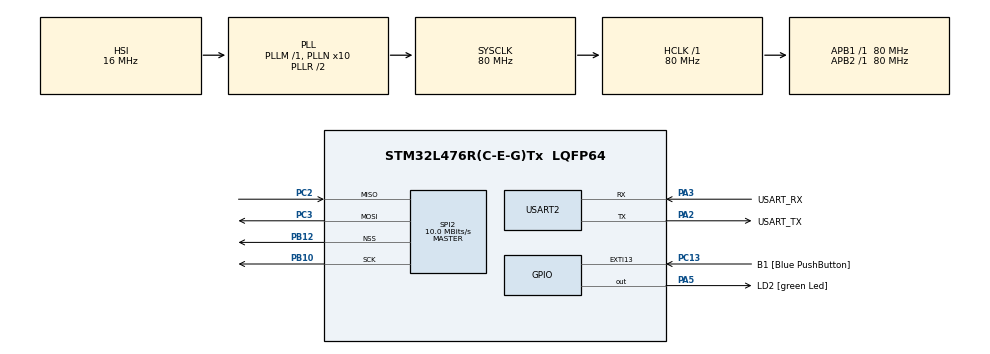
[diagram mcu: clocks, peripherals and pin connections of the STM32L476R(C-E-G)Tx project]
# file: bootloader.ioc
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Mcu.Family=STM32L4
PC3.Mode=Full_Duplex_Master
PA2.GPIO_PuPd=GPIO_NOPULL
SPI2.VirtualNSS=VM_NSSHARD
RCC.CortexFreq_Value=80000000
FATFS._USE_LFN=1
SPI2.VirtualType=VM_MASTER
PB10.Mode=Full_Duplex_Master
PH0-OSC_IN\ (PH0).Signal=RCC_OSC_IN
PA3.GPIO_PuPd=GPIO_NOPULL
PA2.GPIO_Speed=GPIO_SPEED_FREQ_VERY_HIGH
PC15-OSC32_OUT\ (PC15).Mode=LSE-External-Oscillator
PC13.GPIO_Label=B1 [Blue PushButton]
PA3.GPIO_Speed=GPIO_SPEED_FREQ_VERY_HIGH
RCC.SYSCLKSource=RCC_SYSCLKSOURCE_PLLCLK
ProjectManager.StackSize=0x400
PB3\ (JTDO-TRACESWO).Signal=SYS_JTDO-SWO
PC14-OSC32_IN\ (PC14).Mode=LSE-External-Oscillator
PA14\ (JTCK-SWCLK).Signal=SYS_JTCK-SWCLK
RCC.HCLKFreq_Value=80000000
RCC.APB2TimFreq_Value=80000000
TIM3.Period=1000-1
PC3.Signal=SPI2_MOSI
RCC.AHBFreq_Value=80000000
RCC.PREFETCH_ENABLE=1
SPI2.BaudRatePrescaler=SPI_BAUDRATEPRESCALER_8
RCC.HSE_VALUE=8000000
USART2.VirtualMode-Asynchronous=VM_ASYNC
TIM3.Prescaler=8000-1
PA5.GPIO_PuPd=GPIO_NOPULL
NVIC.TIM2_IRQn=true\:0\:0\:false\:false\:true\:true\:true
PC13.GPIO_PuPd=GPIO_NOPULL
SPI2.CalculateBaudRate=10.0 MBits/s
Mcu.Package=LQFP64
TIM2.Prescaler=8000-1
PB12.Mode=NSS_Signal_Hard_Output
SPI2.Mode=SPI_MODE_MASTER
PA2.GPIO_Label=USART_TX
RCC.APB1TimFreq_Value=80000000
SPI2.Direction=SPI_DIRECTION_2LINES
PA13\ (JTMS-SWDIO).Signal=SYS_JTMS-SWDIO
VP_TIM3_VS_ClockSourceINT.Mode=Internal
PA3.Signal=USART2_RX
PA2.GPIO_Mode=GPIO_MODE_AF_PP
RCC.MSI_VALUE=4000000
RCC.PLLSourceVirtual=RCC_PLLSOURCE_HSI
PA14\ (JTCK-SWCLK).Mode=Serial_Wire
PC13.Signal=GPXTI13
PC2.Signal=SPI2_MISO
PC2.Mode=Full_Duplex_Master
PC15-OSC32_OUT\ (PC15).Signal=RCC_OSC32_OUT
PA14\ (JTCK-SWCLK).GPIO_Label=TCK
PB3\ (JTDO-TRACESWO).GPIO_Label=SWO
PH1-OSC_OUT\ (PH1).Signal=RCC_OSC_OUT
PA3.Mode=Asynchronous
ProjectManager.TargetToolchain=STM32CubeIDE
PA3.GPIO_Mode=GPIO_MODE_AF_PP
RCC.USBFreq_Value=64000000
VP_FATFS_VS_Generic.Mode=User_defined
PB10.Signal=SPI2_SCK
PA5.Signal=GPIO_Output
board=NUCLEO-L476RG
RCC.VCOOutputFreq_Value=160000000
NVIC.TIM3_IRQn=true\:0\:0\:false\:false\:true\:true\:true
RCC.APB2Freq_Value=80000000
PA5.GPIO_ModeDefaultOutputPP=GPIO_MODE_OUTPUT_PP
PA13\ (JTMS-SWDIO).GPIO_Label=TMS
VP_TIM2_VS_ClockSourceINT.Mode=Internal
RCC.ADCFreq_Value=64000000
TIM2.Period=1000-1
Mcu.Name=STM32L476R(C-E-G)Tx
PA2.Signal=USART2_TX
FATFS._MAX_SS=4096
PA13\ (JTMS-SWDIO).Mode=Serial_Wire
RCC.SYSCLKFreq_VALUE=80000000
PA5.GPIO_Label=LD2 [green Led]
PC13.GPIO_ModeDefaultEXTI=GPIO_MODE_IT_FALLING
PC14-OSC32_IN\ (PC14).Signal=RCC_OSC32_IN
ProjectManager.HeapSize=0x200
RCC.HSI_VALUE=16000000
PA5.GPIO_Speed=GPIO_SPEED_FREQ_LOW
NVIC.PriorityGroup=NVIC_PRIORITYGROUP_4
RCC.PLLN=10
PA2.Mode=Asynchronous
SPI2.DataSize=SPI_DATASIZE_8BIT
RCC.APB1Freq_Value=80000000
VP_CRC_VS_CRC.Mode=CRC_Activate
PB12.Signal=SPI2_NSS
PA3.GPIO_Label=USART_RX

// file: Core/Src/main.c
/* USER CODE BEGIN Header */
/**
 ******************************************************************************
 * @file           : main.c
 * @brief          : Main program body
 ******************************************************************************
 * @attention
 *
 * <h2><center>&copy; Copyright (c) 2021 STMicroelectronics.
 * All rights reserved.</center></h2>
 *
 * This software component is licensed by ST under BSD 3-Clause license,
 * the "License"; You may not use this file except in compliance with the
 * License. You may obtain a copy of the License at:
 *                        opensource.org/licenses/BSD-3-Clause
 *
 ******************************************************************************
 */
/* USER CODE END Header */
#include "main.h"
#include "crc.h"
#include "fatfs.h"
#include "spi.h"
#include "tim.h"
#include "usart.h"
#include "gpio.h"

/* USER CODE BEGIN Includes */
#include <stdio.h>
#include <string.h>
#include "fatfs_sd.h"
#include "bootloader.h"

/* USER CODE END Includes */

/* USER CODE BEGIN PD */
#define CONF_FILENAME "application.bin"

/* USER CODE END PD */

/* USER CODE BEGIN PV */

/*
FATFS fs;
FIL fil;
FRESULT fresult;

char buffer[1024];
UINT br, bw;

FATFS *pfs;
DWORD fre_clust;
uint32_t total, free_space;
*/

char SDPath[4]; /* SD logical drive path */
FATFS SDFatFs;  /* File system object for SD logical drive */
FIL SDFile;     /* File object for SD */

/* USER CODE END PV */

void SystemClock_Config(void);
/* USER CODE BEGIN PFP */
void Enter_Bootloader(void);
void SD_Eject(void);

/* USER CODE END PFP */

int main(void)
{

  /* MCU Configuration--------------------------------------------------------*/

  /* Reset of all peripherals, Initializes the Flash interface and the Systick. */
  HAL_Init();

  /* Configure the system clock */
  SystemClock_Config();

  /* Initialize all configured peripherals */
  MX_GPIO_Init();
  MX_USART2_UART_Init();
  MX_SPI2_Init();
  MX_TIM2_Init();
  MX_TIM3_Init();
  MX_FATFS_Init();
  MX_CRC_Init();
  /* USER CODE BEGIN 2 */

	/*
	 fresult = f_mount(&fs, "", 0);
	 if (fresult != FR_OK) {
	 printf("Error when mounting SD card.\r\n");
	 } else {
	 printf("SD card mounted successfully.\r\n");
	 }
	 HAL_Delay(10);
	 // Check free space
	 f_getfree("", &fre_clust, &pfs);

	 total = (uint32_t) ((pfs->n_fatent - 2) * pfs->csize * 0.5);
	 printf("SD card total size: %.2f GB\r\n", total / 1024.0 / 1024.0);

	 free_space = (uint32_t) (fre_clust * pfs->csize * 0.5);
	 printf("SD card free space: %.2f GB\r\n", free_space / 1024.0 / 1024.0);

	 // Open file to write/ create a file if it doesn't exist
	 fresult = f_open(&fil, "sleep.txt", FA_OPEN_ALWAYS | FA_READ | FA_WRITE);
	 HAL_Delay(10);
	 // Writing text
	 fresult = f_write(&fil, "Hello World!\r\n", strlen("Hello World!\r\n"),
	 &bw);
	 fresult = f_write(&fil, "2. line\r\n", strlen("2. line\r\n"), &bw);

	 // Close file
	 fresult = f_close(&fil);
	 printf("file1.txt created and the data is written.\r\n");
	 */

	/**************************************************************************/
	printf("\nPower up, Boot started.\r\n");
	HAL_Delay(500);

	// Check system reset flags
	if (__HAL_RCC_GET_FLAG(RCC_FLAG_OBLRST)) {
		printf("OBL flag is active.\r\n");
#if(CLEAR_RESET_FLAGS)
        // Clear system reset flags
        __HAL_RCC_CLEAR_RESET_FLAGS();
        printf("Reset flags cleared.\r\n");
#endif
	}

	printf("Entering Bootloader...\r\n");
	Enter_Bootloader();

	// Check if there is application in user flash area
	if (Bootloader_CheckForApplication() == BL_OK) {
#if(USE_CHECKSUM)
        // Verify application checksum
        if(Bootloader_VerifyChecksum() != BL_OK)
        {
            printf("Checksum Error.\r\n");
            Error_Handler();
        }
        else
        {
            printf("Checksum OK.\r\n");
        }
#endif

		printf("Launching Application.\r\n");
		printf("===========================================\r\n");

		// De-initialize bootloader hardware & peripherals
		//TODO: SD_DeInit();
		//TODO: GPIO_DeInit();

		// Launch application
		Bootloader_JumpToApplication();
	}

	// No application found
	printf("No application in flash.\r\n");

	/**************************************************************************/

  /* USER CODE END 2 */

  /* Infinite loop */
	while (1) {

	}
}

void SystemClock_Config(void)
{
  RCC_OscInitTypeDef RCC_OscInitStruct = {0};
  RCC_ClkInitTypeDef RCC_ClkInitStruct = {0};
  RCC_PeriphCLKInitTypeDef PeriphClkInit = {0};

  /** Initializes the RCC Oscillators according to the specified parameters
  * in the RCC_OscInitTypeDef structure.
  */
  RCC_OscInitStruct.OscillatorType = RCC_OSCILLATORTYPE_HSI;
  RCC_OscInitStruct.HSIState = RCC_HSI_ON;
  RCC_OscInitStruct.HSICalibrationValue = RCC_HSICALIBRATION_DEFAULT;
  RCC_OscInitStruct.PLL.PLLState = RCC_PLL_ON;
  RCC_OscInitStruct.PLL.PLLSource = RCC_PLLSOURCE_HSI;
  RCC_OscInitStruct.PLL.PLLM = 1;
  RCC_OscInitStruct.PLL.PLLN = 10;
  RCC_OscInitStruct.PLL.PLLP = RCC_PLLP_DIV7;
  RCC_OscInitStruct.PLL.PLLQ = RCC_PLLQ_DIV2;
  RCC_OscInitStruct.PLL.PLLR = RCC_PLLR_DIV2;
  if (HAL_RCC_OscConfig(&RCC_OscInitStruct) != HAL_OK)
  {
    Error_Handler();
  }
  /** Initializes the CPU, AHB and APB buses clocks
  */
  RCC_ClkInitStruct.ClockType = RCC_CLOCKTYPE_HCLK|RCC_CLOCKTYPE_SYSCLK
                              |RCC_CLOCKTYPE_PCLK1|RCC_CLOCKTYPE_PCLK2;
  RCC_ClkInitStruct.SYSCLKSource = RCC_SYSCLKSOURCE_PLLCLK;
  RCC_ClkInitStruct.AHBCLKDivider = RCC_SYSCLK_DIV1;
  RCC_ClkInitStruct.APB1CLKDivider = RCC_HCLK_DIV1;
  RCC_ClkInitStruct.APB2CLKDivider = RCC_HCLK_DIV1;

  if (HAL_RCC_ClockConfig(&RCC_ClkInitStruct, FLASH_LATENCY_4) != HAL_OK)
  {
    Error_Handler();
  }
  PeriphClkInit.PeriphClockSelection = RCC_PERIPHCLK_USART2;
  PeriphClkInit.Usart2ClockSelection = RCC_USART2CLKSOURCE_PCLK1;
  if (HAL_RCCEx_PeriphCLKConfig(&PeriphClkInit) != HAL_OK)
  {
    Error_Handler();
  }
  /** Configure the main internal regulator output voltage
  */
  if (HAL_PWREx_ControlVoltageScaling(PWR_REGULATOR_VOLTAGE_SCALE1) != HAL_OK)
  {
    Error_Handler();
  }
}

/* USER CODE BEGIN 4 */

int __io_putchar(int ch) {
	HAL_UART_Transmit(&huart2, (uint8_t*) &ch, 1, 0xFFFF);
	return ch;
}

void SD_Eject(void) {
	f_mount(NULL, (TCHAR const*) SDPath, 0);
}

void SD_DeInit(void) {
	//BSP_SD_DeInit();
	//FATFS_DeInit();
	//SDCARD_OFF();
}

/*** Bootloader ***************************************************************/
void Enter_Bootloader(void) {
	FRESULT fr;
	UINT num;
	uint8_t status;
	uint64_t data;
	uint32_t cntr;
	uint32_t addr;
	char msg[40] = { 0x00 };

	/* Check for flash write protection */
	if (Bootloader_GetProtectionStatus() & BL_PROTECTION_WRP) {
		printf("Application space in flash is write protected. Disabling write protection and generating system reset...\r\n");
		Bootloader_ConfigProtection(BL_PROTECTION_NONE);
	}

	// Initialize SD card
	/*
	 if (SD_Init()) {
	 // SD init failed
	 printf("SD card cannot be initialized.\r\n");
	 return;
	 }*/

	// Mount SD card
	fr = f_mount(&SDFatFs, (TCHAR const*) SDPath, 1);
	if (fr != FR_OK) {
		// f_mount failed
		printf("SD card cannot be mounted. FatFs error code: %u\r\n", fr);
		return;
	}
	printf("SD mounted.\r\n");

	// Open file for programming
	fr = f_open(&SDFile, CONF_FILENAME, FA_READ);
	if (fr != FR_OK) {
		// f_open failed
		printf("File cannot be opened. FatFs error code: %u\r\n", fr);
		SD_Eject();
		printf("SD ejected.\r\n");
		return;
	}
	printf("Software found on SD.\r\n");

	// Check size of application found on SD card
	if (Bootloader_CheckSize(f_size(&SDFile)) != BL_OK) {
		printf("Error: app on SD card is too large.\r\n");

		f_close(&SDFile);
		SD_Eject();
		printf("SD ejected.\r\n");
		return;
	}
	printf("App size OK.\r\n");

	// Step 1: Init Bootloader and Flash
	Bootloader_Init();

	// Step 2: Erase Flash
	printf("Erasing flash...\r\n");
	Bootloader_Erase();
	printf("Flash erase finished.\r\n");

	// Step 3: Programming
	printf("Starting programming...\r\n");
	cntr = 0;
	Bootloader_FlashBegin();
	do {
		data = 0xFFFFFFFFFFFFFFFF;
		fr = f_read(&SDFile, &data, 8, &num);
		if (num) {
			status = Bootloader_FlashNext(data);
			if (status == BL_OK) {
				cntr++;
			} else {
				printf(msg, "Programming error at: %lu byte\r\n", (cntr * 8));
				f_close(&SDFile);
				SD_Eject();
				printf("SD ejected.\r\n");
				return;
			}
		}
	} while ((fr == FR_OK) && (num > 0));

	// Step 4: Finalize Programming
	Bootloader_FlashEnd();
	f_close(&SDFile);
	printf("Programming finished. Flashed: %lu bytes.\r\n", (cntr * 8));

	// Open file for verification
	fr = f_open(&SDFile, CONF_FILENAME, FA_READ);
	if (fr != FR_OK) {
		// f_open failed
		printf("File cannot be opened. FatFs error code: %u\r\n", fr);

		SD_Eject();
		printf("SD ejected.\r\n");
		return;
	}

	// Step 5: Verify Flash Content
	addr = APP_ADDRESS;
	cntr = 0;
	do {
		data = 0xFFFFFFFFFFFFFFFF;
		fr = f_read(&SDFile, &data, 4, &num);
		if (num) {
			if (*(uint32_t*) addr == (uint32_t) data) {
				addr += 4;
				cntr++;
			} else {
				printf("Verification error at: %lu byte.\r\n", (cntr * 4));
				f_close(&SDFile);
				SD_Eject();
				printf("SD ejected.\r\n");
				return;
			}
		}
	} while ((fr == FR_OK) && (num > 0));
	printf("Verification passed.\r\n");

	// Eject SD card
	SD_Eject();
	printf("SD ejected.\r\n");

	// Enable flash write protection
#if(USE_WRITE_PROTECTION)
    printf("Enablig flash write protection and generating system reset...\r\n");
    if(Bootloader_ConfigProtection(BL_PROTECTION_WRP) != BL_OK)
    {
        printf("Failed to enable write protection. Exiting Bootloader.\r\n");
    }
#endif
}

/* USER CODE END 4 */

void Error_Handler(void)
{
	__disable_irq();
	while (1) {
	}
}

/************************ (C) COPYRIGHT STMicroelectronics *****END OF FILE****/
